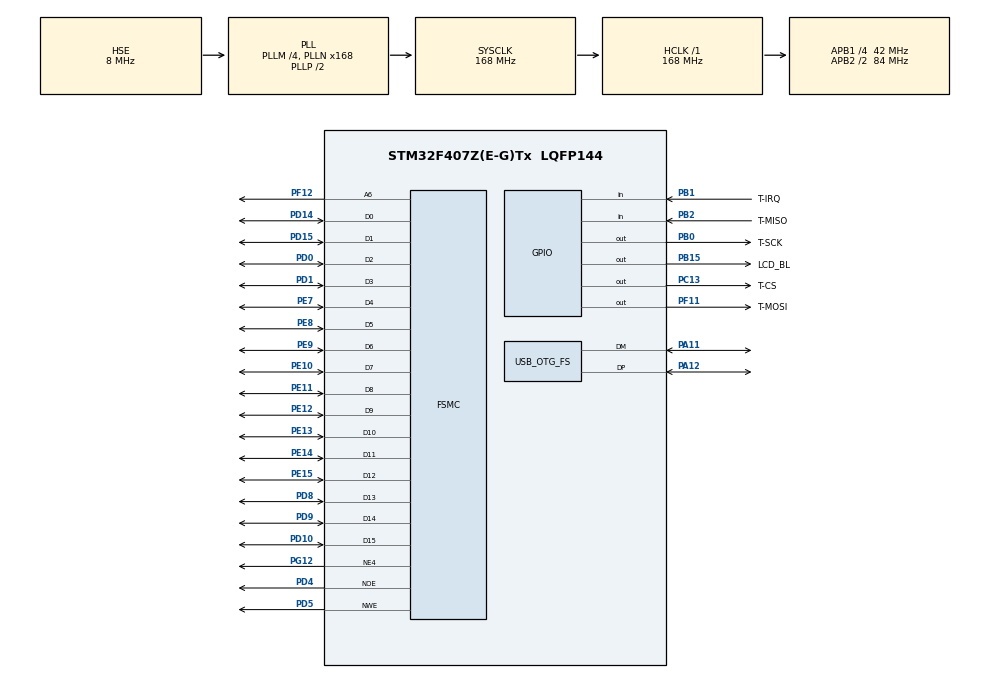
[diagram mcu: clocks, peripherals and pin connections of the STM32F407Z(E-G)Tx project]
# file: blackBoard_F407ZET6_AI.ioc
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FSMC.AddressSetupTime1=2
FSMC.BusTurnAroundDuration1=0
FSMC.DataSetupTime1=2
Mcu.Family=STM32F4
Mcu.Name=STM32F407Z(E-G)Tx
Mcu.Package=LQFP144
NVIC.OTG_FS_IRQn=true\:0\:0\:false\:false\:true\:false\:true
NVIC.PriorityGroup=NVIC_PRIORITYGROUP_4
PA11.Mode=Device_Only
PA11.Signal=USB_OTG_FS_DM
PA12.Mode=Device_Only
PA12.Signal=USB_OTG_FS_DP
PB0.GPIO_Label=T-SCK
PB0.Signal=GPIO_Output
PB1.GPIO_Label=T-IRQ
PB1.GPIO_PuPd=GPIO_PULLUP
PB1.Signal=GPIO_Input
PB15.GPIO_Label=LCD_BL
PB15.Signal=GPIO_Output
PB2.GPIO_Label=T-MISO
PB2.GPIO_PuPd=GPIO_NOPULL
PB2.Signal=GPIO_Input
PC13-ANTI_TAMP.GPIO_Label=T-CS
PC13-ANTI_TAMP.Signal=GPIO_Output
PD0.Signal=FSMC_D2_DA2
PD1.Signal=FSMC_D3_DA3
PD10.Signal=FSMC_D15_DA15
PD14.Signal=FSMC_D0_DA0
PD15.Signal=FSMC_D1_DA1
PD4.Signal=FSMC_NOE
PD5.Signal=FSMC_NWE
PD8.Signal=FSMC_D13_DA13
PD9.Signal=FSMC_D14_DA14
PE10.Signal=FSMC_D7_DA7
PE11.Signal=FSMC_D8_DA8
PE12.Signal=FSMC_D9_DA9
PE13.Signal=FSMC_D10_DA10
PE14.Signal=FSMC_D11_DA11
PE15.Signal=FSMC_D12_DA12
PE7.Signal=FSMC_D4_DA4
PE8.Signal=FSMC_D5_DA5
PE9.Signal=FSMC_D6_DA6
PF11.GPIO_Label=T-MOSI
PF11.Signal=GPIO_Output
PF12.Signal=FSMC_A6
PG12.Mode=NorPsramChipSelect4_1
PG12.Signal=FSMC_NE4
PH0-OSC_IN.Mode=HSE-External-Oscillator
PH0-OSC_IN.Signal=RCC_OSC_IN
PH1-OSC_OUT.Mode=HSE-External-Oscillator
PH1-OSC_OUT.Signal=RCC_OSC_OUT
ProjectManager.HeapSize=0x200
ProjectManager.StackSize=0x400
ProjectManager.TargetToolchain=STM32CubeIDE
RCC.48MHZClocksFreq_Value=48000000
RCC.AHBFreq_Value=168000000
RCC.APB1CLKDivider=RCC_HCLK_DIV4
RCC.APB1Freq_Value=42000000
RCC.APB1TimFreq_Value=84000000
RCC.APB2CLKDivider=RCC_HCLK_DIV2
RCC.APB2Freq_Value=84000000
RCC.APB2TimFreq_Value=168000000
RCC.CortexFreq_Value=168000000
RCC.HCLKFreq_Value=168000000
RCC.HSE_VALUE=8000000
RCC.HSI_VALUE=16000000
RCC.LSE_VALUE=32768
RCC.PLLM=4
RCC.PLLN=168
RCC.PLLQ=7
RCC.SYSCLKFreq_VALUE=168000000
RCC.SYSCLKSource=RCC_SYSCLKSOURCE_PLLCLK
RCC.VCOOutputFreq_Value=336000000
SH.FSMC_A6.0=FSMC_A6,A6_1
SH.FSMC_D0_DA0.0=FSMC_D0,16b-d1
SH.FSMC_D10_DA10.0=FSMC_D10,16b-d1
SH.FSMC_D11_DA11.0=FSMC_D11,16b-d1
SH.FSMC_D12_DA12.0=FSMC_D12,16b-d1
SH.FSMC_D13_DA13.0=FSMC_D13,16b-d1
SH.FSMC_D14_DA14.0=FSMC_D14,16b-d1
SH.FSMC_D15_DA15.0=FSMC_D15,16b-d1
SH.FSMC_D1_DA1.0=FSMC_D1,16b-d1
SH.FSMC_D2_DA2.0=FSMC_D2,16b-d1
SH.FSMC_D3_DA3.0=FSMC_D3,16b-d1
SH.FSMC_D4_DA4.0=FSMC_D4,16b-d1
SH.FSMC_D5_DA5.0=FSMC_D5,16b-d1
SH.FSMC_D6_DA6.0=FSMC_D6,16b-d1
SH.FSMC_D7_DA7.0=FSMC_D7,16b-d1
SH.FSMC_D8_DA8.0=FSMC_D8,16b-d1
SH.FSMC_D9_DA9.0=FSMC_D9,16b-d1
SH.FSMC_NOE.0=FSMC_NOE,Lcd1
SH.FSMC_NWE.0=FSMC_NWE,Lcd1
USB_DEVICE.CLASS_NAME_FS=CDC
USB_DEVICE.VirtualMode-CDC_FS=Cdc
USB_DEVICE.VirtualModeFS=Cdc_FS
USB_OTG_FS.VirtualMode=Device_Only
VP_USB_DEVICE_VS_USB_DEVICE_CDC_FS.Mode=CDC_FS
board=custom

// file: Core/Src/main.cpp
/* USER CODE BEGIN Header */
/**
 ******************************************************************************
 * @file           : main.c
 * @brief          : Main program body
 ******************************************************************************
 * @attention
 *
 * Copyright (c) 2024 STMicroelectronics.
 * All rights reserved.
 *
 * This software is licensed under terms that can be found in the LICENSE file
 * in the root directory of this software component.
 * If no LICENSE file comes with this software, it is provided AS-IS.
 *
 ******************************************************************************
 */
/* USER CODE END Header */
#include "main.h"
#include "usb_device.h"
/* USER CODE BEGIN Includes */
#include "ili9341.h"
#include "XPT2046_touch.h"
#include "sine_model.h"
#include "tensorflow/lite/micro/kernels/all_ops_resolver.h"
#include "tensorflow/lite/micro/micro_error_reporter.h"
#include "tensorflow/lite/micro/micro_interpreter.h"
#include "tensorflow/lite/schema/schema_generated.h"
#include "tensorflow/lite/version.h"
/* USER CODE END Includes */

/* USER CODE BEGIN PTD */

/* Private typedef -----------------------------------------------------------*/
/* Private define ------------------------------------------------------------*/
/* Private macro -------------------------------------------------------------*/
/* Private variables ---------------------------------------------------------*/
namespace {
tflite::ErrorReporter *error_reporter = nullptr;
const tflite::Model *model = nullptr;
tflite::MicroInterpreter *interpreter = nullptr;
TfLiteTensor *model_input = nullptr;
TfLiteTensor *model_output = nullptr;

// Create an area of memory to use for input, output, and intermediate arrays.
// Finding the minimum value for your model may require some trial and error.
constexpr uint32_t kTensorArenaSize = 4 * 1024;
uint8_t tensor_arena[kTensorArenaSize];
}

extern const float INPUT_RANGE = 2.f * 3.14159265359f;
const uint16_t INFERENCE_PER_CYCLE = 70;

/* USER CODE END PTD */

/* USER CODE BEGIN PD */
#define LEN_RACKET 7
/* USER CODE END PD */

SRAM_HandleTypeDef hsram1;

/* USER CODE BEGIN PV */
uint8_t gameField[32][24] = {0};

uint16_t xBall = 0, yBall = 0;
uint16_t xBallLast = 0, yBallLast = 0;
int16_t xSpeedBall = 1, ySpeedBall = 1;

uint16_t xRacket = 13, yRacket = 23;
uint16_t xRacketLast = 0, yRacketLast = 0;
int16_t xSpeedRacket = 0;

uint16_t touchX = 0, touchY = 0;
bool touch = false;
uint16_t touchTime = 0;

typedef struct {
	float speedX;
	float speedY;
	float curX;
	float curY;
} BallMove;

BallMove ballMovHistory[128] = {0};
uint8_t indexBallMove = 0;
/* USER CODE END PV */

void SystemClock_Config(void);
static void MX_GPIO_Init(void);
static void MX_FSMC_Init(void);

/* USER CODE BEGIN 0 */

void initGame() {
	lcdTearingOn(false);

	lcdFillRGB(0xFFFF);

	for (int i = 0; i < 32; i++) {
		lcdDrawVLine(10 * i, 0, 239 - 10, 0xEF9D);
	}

	for (int i = 0; i < (24 - 1); i++) {
		lcdDrawHLine(0, 319, 10 * i, 0xEF9D);
	}
}

void gameRender() {

	lcdFillRect(10 * xBallLast, 10 * yBallLast, 10, 10, COLOR_WHITE);
	lcdFillRect(10 * xBall, 10 * yBall, 10, 10, COLOR_RED);

	xBallLast = xBall;
	yBallLast = yBall;

	if ((xRacket != xRacketLast) || (yRacket != yRacketLast)) {
		lcdFillRect(10 * xRacketLast, 10 * yRacketLast + 1, 10 * (LEN_RACKET), 9, COLOR_WHITE);
		lcdFillRect(10 * xRacket, 10 * yRacket + 1, 10 * (LEN_RACKET), 9, COLOR_BLUE);

		xRacketLast = xRacket;
		yRacketLast = yRacket;
	}
}

void gameLogic() {
	xSpeedRacket = 0;

	// Работа нейросети
	model_input->data.f[0] = (xSpeedBall < 0) ? 0.0f : 1.0f;
	model_input->data.f[1] = (ySpeedBall < 0) ? 0.0f : 1.0f;
	model_input->data.f[2] = xBall / 31.0f;
	model_input->data.f[3] = yBall / 22.0f;

	// Run inference, and report any error
	TfLiteStatus invoke_status = interpreter->Invoke();
	if (invoke_status != kTfLiteOk) {
		return;
	}

	float x_racket = model_output->data.f[0];
	uint16_t xRacketScale = round(x_racket * (float)(32 - LEN_RACKET));
	DebugLogFormatted("%d \n", xRacketScale);

	int deltaXracket = xRacketScale - xRacket;

	if (abs(deltaXracket) > 20)
		xSpeedRacket = 3;
	else if (abs(deltaXracket) > 10)
		xSpeedRacket = 2;
	else if (abs(deltaXracket))
		xSpeedRacket = 1;

	if (deltaXracket < 0)
		xSpeedRacket *= -1;

	// обработка нажатий пользователем
	if(XPT2046_TouchPressed())
	{
		if(XPT2046_TouchGetCoordinates(&touchX, &touchY))
		{
			touch = true;
			touchTime++;

			if (touchTime > 4) {
				if (touchX > (320 / 2)) {
					xSpeedRacket = -3;
				} else {
					xSpeedRacket = 3;
				}
			} else if (touchTime > 1) {
				if (touchX > (320 / 2)) {
					xSpeedRacket = -2;
				} else {
					xSpeedRacket = 2;
				}
			}
		}
	} else {
		if (touch) {
			touch = false;
			touchTime = 0;

			if (touchX > (320 / 2)) {
				xSpeedRacket = -1;
			} else {
				xSpeedRacket = 1;
			}
		}
	}

	// обработка координат ракетки
	if (xSpeedRacket > 0)
		for (int i = 0; i < xSpeedRacket; i++)
			if (xRacket + LEN_RACKET - 1 < 31)
			xRacket++;

	if (xSpeedRacket < 0)
		for (int i = 0; i > xSpeedRacket; i--)
			if (xRacket)
				xRacket--;

	// обработка скорости и координат шарика
	if (xSpeedBall > 0) {
		if (xBall >= 31) {
			xBall--;
			xSpeedBall = -1;
		} else {
			xBall++;
		}
	} else {
		if (!xBall) {
			xBall++;
			xSpeedBall = 1;
		} else {
			xBall--;
		}
	}

	if (ySpeedBall > 0) {
		if (yBall != 22) {
			yBall++;
		} else {
			if ((xBallLast >= xRacketLast) && xBallLast <= (xRacketLast + LEN_RACKET - 1)) {
				yBall--;
				ySpeedBall = -1;
			} else {
				xBall = 0;
				yBall = 0;
				xSpeedBall = 1;
				ySpeedBall = 1;
			}
		}
	} else {
		if (!yBall) {
			yBall++;
			ySpeedBall = 1;
		} else {
			yBall--;
		}
	}
}

/* USER CODE END 0 */

int main(void) {

	/* MCU Configuration--------------------------------------------------------*/

	/* Reset of all peripherals, Initializes the Flash interface and the Systick. */
	HAL_Init();

	/* Configure the system clock */
	SystemClock_Config();

	/* Initialize all configured peripherals */
	MX_GPIO_Init();
	MX_FSMC_Init();
	MX_USB_DEVICE_Init();
	/* USER CODE BEGIN 2 */
	lcdInit();
	lcdSetOrientation(LCD_ORIENTATION_LANDSCAPE);
	lcdFillRGB(0xFFFF);
	LCD_BL_ON();

	static tflite::MicroErrorReporter micro_error_reporter;
	error_reporter = &micro_error_reporter;

	// Map the model into a usable data structure. This doesn't involve any
	// copying or parsing, it's a very lightweight operation.
	model = tflite::GetModel(sine_model);

	if (model->version() != TFLITE_SCHEMA_VERSION) {
		TF_LITE_REPORT_ERROR(error_reporter,
				"Model provided is schema version %d not equal "
						"to supported version %d.", model->version(),
				TFLITE_SCHEMA_VERSION);
		return 0;
	}

	// This pulls in all the operation implementations we need.
	static tflite::ops::micro::AllOpsResolver resolver;

	// Build an interpreter to run the model with.
	static tflite::MicroInterpreter static_interpreter(model, resolver,
			tensor_arena, kTensorArenaSize, error_reporter);
	interpreter = &static_interpreter;

	// Allocate memory from the tensor_arena for the model's tensors.
	TfLiteStatus allocate_status = interpreter->AllocateTensors();
	if (allocate_status != kTfLiteOk) {
		TF_LITE_REPORT_ERROR(error_reporter, "AllocateTensors() failed");
		return 0;
	}

	// Obtain pointers to the model's input and output tensors.
	model_input = interpreter->input(0);
	model_output = interpreter->output(0);

	/* USER CODE END 2 */

	/* Infinite loop */
	/* USER CODE BEGIN WHILE */

	initGame();

	while (1) {
		/* USER CODE END WHILE */

		/* USER CODE BEGIN 3 */

//		ballMovHistory[indexBallMove].speedX = (xSpeedBall < 0) ? 0.0f : 1.0f;
//		ballMovHistory[indexBallMove].speedY = (ySpeedBall < 0) ? 0.0f : 1.0f;
//		ballMovHistory[indexBallMove].curX = xBall / 31.0f;
//		ballMovHistory[indexBallMove++].curY = yBall / 22.0f;
//
//		if (yBall == 22) {
//
//			static char cycleStr[2048] = {0};
//			static char stepStr[32] = {0};
//
//			cycleStr[0] = 0;
//
//			for (int i = 0; i < indexBallMove; i++)
//			{
//				sprintf(stepStr, "%1.1f %1.1f %1.2f %1.2f %1.2f\n", ballMovHistory[i].speedX, ballMovHistory[i].speedY, ballMovHistory[i].curX, ballMovHistory[i].curY, xRacket / (float)(32 - (LEN_RACKET)));
//				strcat(cycleStr, stepStr);
//			}
//
//			DebugLogFormatted("%s", cycleStr);
//
//			indexBallMove = 0;
//		}

		gameLogic();
		gameRender();

		HAL_Delay(100);

		/* USER CODE END 3 */
	}
}
	/**
	 * @brief System Clock Configuration
	 * @retval None
	 */
void SystemClock_Config(void)
{
  RCC_OscInitTypeDef RCC_OscInitStruct = {0};
  RCC_ClkInitTypeDef RCC_ClkInitStruct = {0};

  /** Configure the main internal regulator output voltage
  */
  __HAL_RCC_PWR_CLK_ENABLE();
  __HAL_PWR_VOLTAGESCALING_CONFIG(PWR_REGULATOR_VOLTAGE_SCALE1);
  /** Initializes the RCC Oscillators according to the specified parameters
  * in the RCC_OscInitTypeDef structure.
  */
  RCC_OscInitStruct.OscillatorType = RCC_OSCILLATORTYPE_HSE;
  RCC_OscInitStruct.HSEState = RCC_HSE_ON;
  RCC_OscInitStruct.PLL.PLLState = RCC_PLL_ON;
  RCC_OscInitStruct.PLL.PLLSource = RCC_PLLSOURCE_HSE;
  RCC_OscInitStruct.PLL.PLLM = 4;
  RCC_OscInitStruct.PLL.PLLN = 168;
  RCC_OscInitStruct.PLL.PLLP = RCC_PLLP_DIV2;
  RCC_OscInitStruct.PLL.PLLQ = 7;
  if (HAL_RCC_OscConfig(&RCC_OscInitStruct) != HAL_OK)
  {
    Error_Handler();
  }
  /** Initializes the CPU, AHB and APB buses clocks
  */
  RCC_ClkInitStruct.ClockType = RCC_CLOCKTYPE_HCLK|RCC_CLOCKTYPE_SYSCLK
                              |RCC_CLOCKTYPE_PCLK1|RCC_CLOCKTYPE_PCLK2;
  RCC_ClkInitStruct.SYSCLKSource = RCC_SYSCLKSOURCE_PLLCLK;
  RCC_ClkInitStruct.AHBCLKDivider = RCC_SYSCLK_DIV1;
  RCC_ClkInitStruct.APB1CLKDivider = RCC_HCLK_DIV4;
  RCC_ClkInitStruct.APB2CLKDivider = RCC_HCLK_DIV2;

  if (HAL_RCC_ClockConfig(&RCC_ClkInitStruct, FLASH_LATENCY_5) != HAL_OK)
  {
    Error_Handler();
  }
}

static void MX_GPIO_Init(void)
{
	GPIO_InitTypeDef GPIO_InitStruct = {0};

	/* GPIO Ports Clock Enable */
	__HAL_RCC_GPIOC_CLK_ENABLE();
	__HAL_RCC_GPIOH_CLK_ENABLE();
	__HAL_RCC_GPIOB_CLK_ENABLE();
	__HAL_RCC_GPIOF_CLK_ENABLE();
	__HAL_RCC_GPIOE_CLK_ENABLE();
	__HAL_RCC_GPIOD_CLK_ENABLE();
	__HAL_RCC_GPIOA_CLK_ENABLE();
	__HAL_RCC_GPIOG_CLK_ENABLE();

	/*Configure GPIO pin Output Level */
	HAL_GPIO_WritePin(T_CS_GPIO_Port, T_CS_Pin, GPIO_PIN_RESET);

	/*Configure GPIO pin Output Level */
	HAL_GPIO_WritePin(GPIOB, T_SCK_Pin|LCD_BL_Pin, GPIO_PIN_RESET);

	/*Configure GPIO pin Output Level */
	HAL_GPIO_WritePin(T_MOSI_GPIO_Port, T_MOSI_Pin, GPIO_PIN_RESET);

	/*Configure GPIO pin : T_CS_Pin */
	GPIO_InitStruct.Pin = T_CS_Pin;
	GPIO_InitStruct.Mode = GPIO_MODE_OUTPUT_PP;
	GPIO_InitStruct.Pull = GPIO_NOPULL;
	GPIO_InitStruct.Speed = GPIO_SPEED_FREQ_LOW;
	HAL_GPIO_Init(T_CS_GPIO_Port, &GPIO_InitStruct);

	/*Configure GPIO pins : T_SCK_Pin LCD_BL_Pin */
	GPIO_InitStruct.Pin = T_SCK_Pin|LCD_BL_Pin;
	GPIO_InitStruct.Mode = GPIO_MODE_OUTPUT_PP;
	GPIO_InitStruct.Pull = GPIO_NOPULL;
	GPIO_InitStruct.Speed = GPIO_SPEED_FREQ_LOW;
	HAL_GPIO_Init(GPIOB, &GPIO_InitStruct);

	/*Configure GPIO pin : T_IRQ_Pin */
	GPIO_InitStruct.Pin = T_IRQ_Pin;
	GPIO_InitStruct.Mode = GPIO_MODE_INPUT;
	GPIO_InitStruct.Pull = GPIO_PULLUP;
	HAL_GPIO_Init(T_IRQ_GPIO_Port, &GPIO_InitStruct);

	/*Configure GPIO pin : T_MISO_Pin */
	GPIO_InitStruct.Pin = T_MISO_Pin;
	GPIO_InitStruct.Mode = GPIO_MODE_INPUT;
	GPIO_InitStruct.Pull = GPIO_NOPULL;
	HAL_GPIO_Init(T_MISO_GPIO_Port, &GPIO_InitStruct);

	/*Configure GPIO pin : T_MOSI_Pin */
	GPIO_InitStruct.Pin = T_MOSI_Pin;
	GPIO_InitStruct.Mode = GPIO_MODE_OUTPUT_PP;
	GPIO_InitStruct.Pull = GPIO_NOPULL;
	GPIO_InitStruct.Speed = GPIO_SPEED_FREQ_LOW;
	HAL_GPIO_Init(T_MOSI_GPIO_Port, &GPIO_InitStruct);

}

/* FSMC initialization function */
static void MX_FSMC_Init(void) {

	FSMC_NORSRAM_TimingTypeDef Timing = {0};

	/** Perform the SRAM1 memory initialization sequence
	 */
	hsram1.Instance = FSMC_NORSRAM_DEVICE;
	hsram1.Extended = FSMC_NORSRAM_EXTENDED_DEVICE;
	/* hsram1.Init */
	hsram1.Init.NSBank = FSMC_NORSRAM_BANK4;
	hsram1.Init.DataAddressMux = FSMC_DATA_ADDRESS_MUX_DISABLE;
	hsram1.Init.MemoryType = FSMC_MEMORY_TYPE_SRAM;
	hsram1.Init.MemoryDataWidth = FSMC_NORSRAM_MEM_BUS_WIDTH_16;
	hsram1.Init.BurstAccessMode = FSMC_BURST_ACCESS_MODE_DISABLE;
	hsram1.Init.WaitSignalPolarity = FSMC_WAIT_SIGNAL_POLARITY_LOW;
	hsram1.Init.WrapMode = FSMC_WRAP_MODE_DISABLE;
	hsram1.Init.WaitSignalActive = FSMC_WAIT_TIMING_BEFORE_WS;
	hsram1.Init.WriteOperation = FSMC_WRITE_OPERATION_ENABLE;
	hsram1.Init.WaitSignal = FSMC_WAIT_SIGNAL_DISABLE;
	hsram1.Init.ExtendedMode = FSMC_EXTENDED_MODE_DISABLE;
	hsram1.Init.AsynchronousWait = FSMC_ASYNCHRONOUS_WAIT_DISABLE;
	hsram1.Init.WriteBurst = FSMC_WRITE_BURST_DISABLE;
	hsram1.Init.PageSize = FSMC_PAGE_SIZE_NONE;
	/* Timing */
	Timing.AddressSetupTime = 2;
	Timing.AddressHoldTime = 15;
	Timing.DataSetupTime = 2;
	Timing.BusTurnAroundDuration = 0;
	Timing.CLKDivision = 16;
	Timing.DataLatency = 17;
	Timing.AccessMode = FSMC_ACCESS_MODE_A;
	/* ExtTiming */

	if (HAL_SRAM_Init(&hsram1, &Timing, NULL) != HAL_OK) {
		Error_Handler();
	}

}

void Error_Handler(void) {
	__disable_irq();
	while (1) {
	}
}
